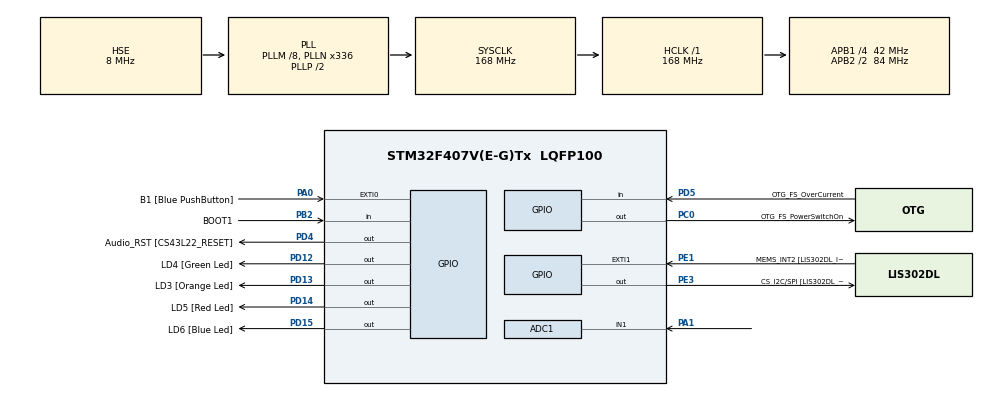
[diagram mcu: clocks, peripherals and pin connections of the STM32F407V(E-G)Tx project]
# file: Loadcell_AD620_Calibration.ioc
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ADC1.Channel-0\#ChannelRegularConversion=ADC_CHANNEL_1
ADC1.ContinuousConvMode=ENABLE
ADC1.DMAContinuousRequests=DISABLE
ADC1.EOCSelection=ADC_EOC_SEQ_CONV
ADC1.NbrOfConversionFlag=1
ADC1.Rank-0\#ChannelRegularConversion=1
ADC1.SamplingTime-0\#ChannelRegularConversion=ADC_SAMPLETIME_3CYCLES
ADC1.master=1
Mcu.Family=STM32F4
Mcu.Name=STM32F407V(E-G)Tx
Mcu.Package=LQFP100
NVIC.EXTI0_IRQn=true\:0\:0\:false\:false\:true\:true\:true\:true
NVIC.PriorityGroup=NVIC_PRIORITYGROUP_0
PA0-WKUP.GPIO_Label=B1 [Blue PushButton]
PA0-WKUP.GPIO_ModeDefaultEXTI=GPIO_MODE_IT_RISING
PA0-WKUP.GPIO_PuPd=GPIO_PULLDOWN
PA0-WKUP.Signal=GPXTI0
PA1.Signal=ADCx_IN1
PA10.GPIO_Label=OTG_FS_ID
PA10.GPIO_Mode=GPIO_MODE_AF_PP
PA10.GPIO_PuPd=GPIO_NOPULL
PA10.GPIO_Speed=GPIO_SPEED_FREQ_LOW
PA10.Signal=USB_OTG_FS_ID
PA11.GPIO_Label=OTG_FS_DM
PA11.GPIO_Mode=GPIO_MODE_AF_PP
PA11.GPIO_PuPd=GPIO_NOPULL
PA11.GPIO_Speed=GPIO_SPEED_FREQ_LOW
PA11.Signal=USB_OTG_FS_DM
PA12.GPIO_Label=OTG_FS_DP
PA12.GPIO_Mode=GPIO_MODE_AF_PP
PA12.GPIO_PuPd=GPIO_NOPULL
PA12.GPIO_Speed=GPIO_SPEED_FREQ_LOW
PA12.Signal=USB_OTG_FS_DP
PA13.GPIO_Label=SWDIO
PA13.Mode=Serial_Wire
PA13.Signal=SYS_JTMS-SWDIO
PA14.GPIO_Label=SWCLK
PA14.Mode=Serial_Wire
PA14.Signal=SYS_JTCK-SWCLK
PA4.GPIO_Label=I2S3_WS [CS43L22_LRCK]
PA4.GPIO_Mode=GPIO_MODE_AF_PP
PA4.GPIO_PuPd=GPIO_NOPULL
PA4.GPIO_Speed=GPIO_SPEED_FREQ_LOW
PA4.Signal=I2S3_WS
PA5.GPIO_Label=SPI1_SCK [LIS302DL_SCL/SPC]
PA5.GPIO_Mode=GPIO_MODE_AF_PP
PA5.GPIO_PuPd=GPIO_NOPULL
PA5.GPIO_Speed=GPIO_SPEED_FREQ_LOW
PA5.Signal=SPI1_SCK
PA6.GPIO_Label=SPI1_MISO [LIS302DL_SDO]
PA6.GPIO_Mode=GPIO_MODE_AF_PP
PA6.GPIO_PuPd=GPIO_NOPULL
PA6.GPIO_Speed=GPIO_SPEED_FREQ_LOW
PA6.Signal=SPI1_MISO
PA7.GPIO_Label=SPI1_MOSI [LIS302DL_SDA/SDI/SDO]
PA7.GPIO_Mode=GPIO_MODE_AF_PP
PA7.GPIO_PuPd=GPIO_NOPULL
PA7.GPIO_Speed=GPIO_SPEED_FREQ_LOW
PA7.Signal=SPI1_MOSI
PA9.GPIO_Label=VBUS_FS
PA9.GPIO_Mode=GPIO_MODE_INPUT
PA9.GPIO_PuPd=GPIO_NOPULL
PA9.Signal=USB_OTG_FS_VBUS
PB10.GPIO_Label=CLK_IN [MP45DT02_CLK]
PB10.GPIO_Mode=GPIO_MODE_AF_PP
PB10.GPIO_PuPd=GPIO_NOPULL
PB10.GPIO_Speed=GPIO_SPEED_FREQ_LOW
PB10.Signal=I2S2_CK
PB2.GPIO_Label=BOOT1
PB2.GPIO_Mode=GPIO_MODE_INPUT
PB2.GPIO_PuPd=GPIO_NOPULL
PB2.Signal=GPIO_Input
PB3.GPIO_Label=SWO
PB3.Signal=SYS_JTDO-SWO
PB6.GPIO_Label=Audio_SCL [CS43L22_SCL]
PB6.GPIO_Mode=GPIO_MODE_AF_OD
PB6.GPIO_Pu=GPIO_PULLUP
PB6.GPIO_PuPd=GPIO_NOPULL
PB6.GPIO_Speed=GPIO_SPEED_FREQ_LOW
PB6.Signal=I2C1_SCL
PB9.GPIO_Label=Audio_SDA [CS43L22_SDA]
PB9.GPIO_Mode=GPIO_MODE_AF_OD
PB9.GPIO_Pu=GPIO_PULLUP
PB9.GPIO_PuPd=GPIO_NOPULL
PB9.GPIO_Speed=GPIO_SPEED_FREQ_LOW
PB9.Signal=I2C1_SDA
PC0.GPIO_Label=OTG_FS_PowerSwitchOn
PC0.GPIO_PuPd=GPIO_NOPULL
PC0.GPIO_Speed=GPIO_SPEED_FREQ_LOW
PC0.PinState=GPIO_PIN_SET
PC0.Signal=GPIO_Output
PC10.GPIO_Label=I2S3_SCK [CS43L22_SCLK]
PC10.GPIO_Mode=GPIO_MODE_AF_PP
PC10.GPIO_PuPd=GPIO_NOPULL
PC10.GPIO_Speed=GPIO_SPEED_FREQ_LOW
PC10.Signal=I2S3_CK
PC12.GPIO_Label=I2S3_SD [CS43L22_SDIN]
PC12.GPIO_Mode=GPIO_MODE_AF_PP
PC12.GPIO_PuPd=GPIO_NOPULL
PC12.GPIO_Speed=GPIO_SPEED_FREQ_LOW
PC12.Signal=I2S3_SD
PC14-OSC32_IN.GPIO_Label=PC14-OSC32_IN
PC14-OSC32_IN.Mode=LSE-External-Oscillator
PC14-OSC32_IN.Signal=RCC_OSC32_IN
PC15-OSC32_OUT.GPIO_Label=PC15-OSC32_OUT
PC15-OSC32_OUT.Mode=LSE-External-Oscillator
PC15-OSC32_OUT.Signal=RCC_OSC32_OUT
PC3.GPIO_Label=PDM_OUT [MP45DT02_DOUT]
PC3.GPIO_Mode=GPIO_MODE_AF_PP
PC3.GPIO_PuPd=GPIO_NOPULL
PC3.GPIO_Speed=GPIO_SPEED_FREQ_LOW
PC3.Signal=I2S2_SD
PC7.GPIO_Label=I2S3_MCK [CS43L22_MCLK]
PC7.GPIO_Mode=GPIO_MODE_AF_PP
PC7.GPIO_PuPd=GPIO_NOPULL
PC7.GPIO_Speed=GPIO_SPEED_FREQ_LOW
PC7.Signal=I2S3_MCK
PD12.GPIO_Label=LD4 [Green Led]
PD12.GPIO_PuPd=GPIO_NOPULL
PD12.GPIO_Speed=GPIO_SPEED_FREQ_LOW
PD12.Signal=GPIO_Output
PD13.GPIO_Label=LD3 [Orange Led]
PD13.GPIO_PuPd=GPIO_NOPULL
PD13.GPIO_Speed=GPIO_SPEED_FREQ_LOW
PD13.Signal=GPIO_Output
PD14.GPIO_Label=LD5 [Red Led]
PD14.GPIO_PuPd=GPIO_NOPULL
PD14.GPIO_Speed=GPIO_SPEED_FREQ_LOW
PD14.Signal=GPIO_Output
PD15.GPIO_Label=LD6 [Blue Led]
PD15.GPIO_PuPd=GPIO_NOPULL
PD15.GPIO_Speed=GPIO_SPEED_FREQ_LOW
PD15.Signal=GPIO_Output
PD4.GPIO_Label=Audio_RST [CS43L22_RESET]
PD4.GPIO_PuPd=GPIO_NOPULL
PD4.GPIO_Speed=GPIO_SPEED_FREQ_LOW
PD4.Signal=GPIO_Output
PD5.GPIO_Label=OTG_FS_OverCurrent
PD5.GPIO_Mode=GPIO_MODE_INPUT
PD5.GPIO_PuPd=GPIO_NOPULL
PD5.Signal=GPIO_Input
PE1.GPIO_Label=MEMS_INT2 [LIS302DL_INT2]
PE1.GPIO_ModeDefaultEXTI=GPIO_MODE_EVT_RISING
PE1.GPIO_PuPd=GPIO_NOPULL
PE1.Signal=GPXTI1
PE3.GPIO_Label=CS_I2C/SPI [LIS302DL_CS_I2C/SPI]
PE3.GPIO_PuPd=GPIO_NOPULL
PE3.GPIO_Speed=GPIO_SPEED_FREQ_LOW
PE3.Signal=GPIO_Output
PH0-OSC_IN.GPIO_Label=PH0-OSC_IN
PH0-OSC_IN.Mode=HSE-External-Oscillator
PH0-OSC_IN.Signal=RCC_OSC_IN
PH1-OSC_OUT.GPIO_Label=PH1-OSC_OUT
PH1-OSC_OUT.Mode=HSE-External-Oscillator
PH1-OSC_OUT.Signal=RCC_OSC_OUT
ProjectManager.HeapSize=0x200
ProjectManager.StackSize=0x400
ProjectManager.TargetToolchain=MDK-ARM V5
RCC.48MHZClocksFreq_Value=48000000
RCC.AHBFreq_Value=168000000
RCC.APB1CLKDivider=RCC_HCLK_DIV4
RCC.APB1Freq_Value=42000000
RCC.APB1TimFreq_Value=84000000
RCC.APB2CLKDivider=RCC_HCLK_DIV2
RCC.APB2Freq_Value=84000000
RCC.APB2TimFreq_Value=168000000
RCC.CortexFreq_Value=168000000
RCC.HCLKFreq_Value=168000000
RCC.HSE_VALUE=8000000
RCC.HSI_VALUE=16000000
RCC.PLLM=8
RCC.PLLN=336
RCC.PLLQ=7
RCC.PLLSourceVirtual=RCC_PLLSOURCE_HSE
RCC.SYSCLKFreq_VALUE=168000000
RCC.SYSCLKSource=RCC_SYSCLKSOURCE_PLLCLK
RCC.VCOOutputFreq_Value=336000000
SH.ADCx_IN1.0=ADC1_IN1,IN1
board=STM32F407G-DISC1

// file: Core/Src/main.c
/* USER CODE BEGIN Header */
/**
 ******************************************************************************
 * @file           : main.c
 * @brief          : Main program body
 ******************************************************************************
 * @attention
 *
 * Copyright (c) 2025 STMicroelectronics.
 * All rights reserved.
 *
 * This software is licensed under terms that can be found in the LICENSE file
 * in the root directory of this software component.
 * If no LICENSE file comes with this software, it is provided AS-IS.
 *
 ******************************************************************************
 */
/* USER CODE END Header */
#include "main.h"
#include "adc.h"
#include "gpio.h"

/* USER CODE BEGIN Includes */
#include "stdbool.h"
/* USER CODE END Includes */

/* USER CODE BEGIN PTD */
#define ALPHA_LOADCELL 0.99

// Weight in gram
#define MASS_1 1080.0
#define MASS_2 1090.0
#define MASS_3 998.2
#define MASS_4 490.0
#define MASS_5 1604.0
#define MASS_6 443.6
/* USER CODE END PTD */

/* USER CODE BEGIN PV */

uint32_t cur_loadcell;
uint32_t pre_loadcell;
float filtered_cur_loadcell;
float filtered_pre_loadcell;

int record_flag;
uint32_t start_tick;

int counter;

// float weight[33] = {
//     0,
//     MASS_1,
//     MASS_1 + 250,
//     MASS_1 + 500,
//     MASS_1 + MASS_2,
//     MASS_1 + MASS_2 + 250,
//     MASS_1 + MASS_2 + 500,
//     MASS_1 + MASS_2 + MASS_3,
//     MASS_1 + MASS_2 + MASS_3 + 250,
//     MASS_1 + MASS_2 + MASS_3 + MASS_4,
//     MASS_1 + MASS_2 + MASS_3 + MASS_4 + 250,
//     MASS_1 + MASS_2 + MASS_3 + MASS_4 + 500,
//     MASS_1 + MASS_2 + MASS_3 + MASS_4 + MASS_5,
//     MASS_1 + MASS_2 + MASS_3 + MASS_4 + MASS_5 + 250,
//     MASS_1 + MASS_2 + MASS_3 + MASS_4 + MASS_5 + MASS_6,
//     MASS_1 + MASS_2 + MASS_3 + MASS_4 + MASS_5 + MASS_6 + 250,
//     MASS_1 + MASS_2 + MASS_3 + MASS_4 + MASS_5 + MASS_6 + 500,
//     MASS_1 + MASS_2 + MASS_3 + MASS_4 + MASS_5 + MASS_6 + 250,
//     MASS_1 + MASS_2 + MASS_3 + MASS_4 + MASS_5 + MASS_6,
//     MASS_1 + MASS_2 + MASS_3 + MASS_4 + MASS_5 + 250,
//     MASS_1 + MASS_2 + MASS_3 + MASS_4 + MASS_5,
//     MASS_1 + MASS_2 + MASS_3 + MASS_4 + 500,
//     MASS_1 + MASS_2 + MASS_3 + MASS_4 + 250,
//     MASS_1 + MASS_2 + MASS_3 + MASS_4,
//     MASS_1 + MASS_2 + MASS_3 + 250,
//     MASS_1 + MASS_2 + MASS_3,
//     MASS_1 + MASS_2 + 500,
//     MASS_1 + MASS_2 + 250,
//     MASS_1 + MASS_2,
//     MASS_1 + 500,
//     MASS_1 + 250,
//     MASS_1,
//     0};

float weight[37] = {
    0,
    250,
    500,
    MASS_1,
    MASS_1 + 250,
    MASS_1 + 500,
    MASS_1 + MASS_2,
    MASS_1 + MASS_2 + 250,
    MASS_1 + MASS_2 + 500,
    MASS_1 + MASS_2 + MASS_3,
    MASS_1 + MASS_2 + MASS_3 + 250,
    MASS_1 + MASS_2 + MASS_3 + MASS_4,
    MASS_1 + MASS_2 + MASS_3 + MASS_4 + 250,
    MASS_1 + MASS_2 + MASS_3 + MASS_4 + 500,
    MASS_1 + MASS_2 + MASS_3 + MASS_4 + MASS_5,
    MASS_1 + MASS_2 + MASS_3 + MASS_4 + MASS_5 + 250,
    MASS_1 + MASS_2 + MASS_3 + MASS_4 + MASS_5 + MASS_6,
    MASS_1 + MASS_2 + MASS_3 + MASS_4 + MASS_5 + MASS_6 + 250,
    MASS_1 + MASS_2 + MASS_3 + MASS_4 + MASS_5 + MASS_6 + 500,
    MASS_1 + MASS_2 + MASS_3 + MASS_4 + MASS_5 + MASS_6 + 250,
    MASS_1 + MASS_2 + MASS_3 + MASS_4 + MASS_5 + MASS_6,
    MASS_1 + MASS_2 + MASS_3 + MASS_4 + MASS_5 + 250,
    MASS_1 + MASS_2 + MASS_3 + MASS_4 + MASS_5,
    MASS_1 + MASS_2 + MASS_3 + MASS_4 + 500,
    MASS_1 + MASS_2 + MASS_3 + MASS_4 + 250,
    MASS_1 + MASS_2 + MASS_3 + MASS_4,
    MASS_1 + MASS_2 + MASS_3 + 250,
    MASS_1 + MASS_2 + MASS_3,
    MASS_1 + MASS_2 + 500,
    MASS_1 + MASS_2 + 250,
    MASS_1 + MASS_2,
    MASS_1 + 500,
    MASS_1 + 250,
    MASS_1,
    500,
    250,
    0};
float weight_variable;

// float measure_weight;
/* USER CODE END PV */

void SystemClock_Config(void);

int main(void)
{

  /* MCU Configuration--------------------------------------------------------*/

  /* Reset of all peripherals, Initializes the Flash interface and the Systick. */
  HAL_Init();

  /* Configure the system clock */
  SystemClock_Config();

  /* Initialize all configured peripherals */
  MX_GPIO_Init();
  MX_ADC1_Init();
  /* USER CODE BEGIN 2 */

  HAL_ADC_Start(&hadc1);

  record_flag = 0;
  start_tick = 0;
  counter = 0;
  weight_variable = 0;

  if (HAL_ADC_PollForConversion(&hadc1, 2) == HAL_OK)
  {
    cur_loadcell = HAL_ADC_GetValue(&hadc1);
  }
  filtered_cur_loadcell = cur_loadcell;
  HAL_Delay(4000);

  // LD5 on means calibration process is ready.
  HAL_GPIO_WritePin(GPIOD, LD5_Pin, GPIO_PIN_SET);
  HAL_GPIO_WritePin(GPIOD, LD3_Pin, GPIO_PIN_RESET);

  /* USER CODE END 2 */

  /* Infinite loop */
  while (1)
  {

    /* USER CODE BEGIN 3 */

    // ------------------------------------------------------------ //
    // ------------------------- Calibration ---------------------- //
    // ------------------------------------------------------------ //

    pre_loadcell = cur_loadcell;
    filtered_pre_loadcell = filtered_cur_loadcell;

    if (HAL_ADC_PollForConversion(&hadc1, 2) == HAL_OK)
    {
      cur_loadcell = HAL_ADC_GetValue(&hadc1);
    }

    // Low Pass Filter
    filtered_cur_loadcell = ALPHA_LOADCELL * filtered_pre_loadcell + (1 - ALPHA_LOADCELL) * ((float)cur_loadcell + (float)pre_loadcell) / 2;

    if (counter <= sizeof(weight) / sizeof(weight[0]))
    {
      uint32_t time_pass = HAL_GetTick() - start_tick;
      if (time_pass > 300 && time_pass < 3000)
      {
        HAL_GPIO_WritePin(GPIOD, LD3_Pin, GPIO_PIN_SET);
        record_flag = 1;
      }
      else if (time_pass >= 3000)
      {
        HAL_GPIO_WritePin(GPIOD, LD3_Pin, GPIO_PIN_RESET);
        record_flag = 0;
      }
    }
    else
    {
      // All LED on means the whole calibration process is over.
      HAL_GPIO_WritePin(GPIOD, LD3_Pin, GPIO_PIN_SET);
      HAL_GPIO_WritePin(GPIOD, LD4_Pin, GPIO_PIN_SET);
      HAL_GPIO_WritePin(GPIOD, LD5_Pin, GPIO_PIN_SET);
      HAL_GPIO_WritePin(GPIOD, LD6_Pin, GPIO_PIN_SET);
    }
  }
  /* USER CODE END 3 */
}

void SystemClock_Config(void)
{
  RCC_OscInitTypeDef RCC_OscInitStruct = {0};
  RCC_ClkInitTypeDef RCC_ClkInitStruct = {0};

  /** Configure the main internal regulator output voltage
   */
  __HAL_RCC_PWR_CLK_ENABLE();
  __HAL_PWR_VOLTAGESCALING_CONFIG(PWR_REGULATOR_VOLTAGE_SCALE1);

  /** Initializes the RCC Oscillators according to the specified parameters
   * in the RCC_OscInitTypeDef structure.
   */
  RCC_OscInitStruct.OscillatorType = RCC_OSCILLATORTYPE_HSE;
  RCC_OscInitStruct.HSEState = RCC_HSE_ON;
  RCC_OscInitStruct.PLL.PLLState = RCC_PLL_ON;
  RCC_OscInitStruct.PLL.PLLSource = RCC_PLLSOURCE_HSE;
  RCC_OscInitStruct.PLL.PLLM = 8;
  RCC_OscInitStruct.PLL.PLLN = 336;
  RCC_OscInitStruct.PLL.PLLP = RCC_PLLP_DIV2;
  RCC_OscInitStruct.PLL.PLLQ = 7;
  if (HAL_RCC_OscConfig(&RCC_OscInitStruct) != HAL_OK)
  {
    Error_Handler();
  }

  /** Initializes the CPU, AHB and APB buses clocks
   */
  RCC_ClkInitStruct.ClockType = RCC_CLOCKTYPE_HCLK | RCC_CLOCKTYPE_SYSCLK | RCC_CLOCKTYPE_PCLK1 | RCC_CLOCKTYPE_PCLK2;
  RCC_ClkInitStruct.SYSCLKSource = RCC_SYSCLKSOURCE_PLLCLK;
  RCC_ClkInitStruct.AHBCLKDivider = RCC_SYSCLK_DIV1;
  RCC_ClkInitStruct.APB1CLKDivider = RCC_HCLK_DIV4;
  RCC_ClkInitStruct.APB2CLKDivider = RCC_HCLK_DIV2;

  if (HAL_RCC_ClockConfig(&RCC_ClkInitStruct, FLASH_LATENCY_5) != HAL_OK)
  {
    Error_Handler();
  }
}

/* USER CODE BEGIN 4 */

void HAL_GPIO_EXTI_Callback(uint16_t GPIO_Pin)
{
  if (GPIO_Pin == GPIO_PIN_0)
  {
    static uint32_t last_tick = 0;
    if (HAL_GetTick() - last_tick > 500) // wait 500ms
    {
      last_tick = HAL_GetTick();
      if (!record_flag && counter < sizeof(weight) / sizeof(weight[0]))
      {
        // LD3 on means STM is recording the loadcell data.
        HAL_GPIO_WritePin(GPIOD, LD3_Pin, GPIO_PIN_SET);
        weight_variable = weight[counter];
        start_tick = HAL_GetTick();
      }

      counter++;
    }
  }

  else
  {
    __NOP();
  }
}
/* USER CODE END 4 */

void Error_Handler(void)
{
  __disable_irq();
  while (1)
  {
  }
}
